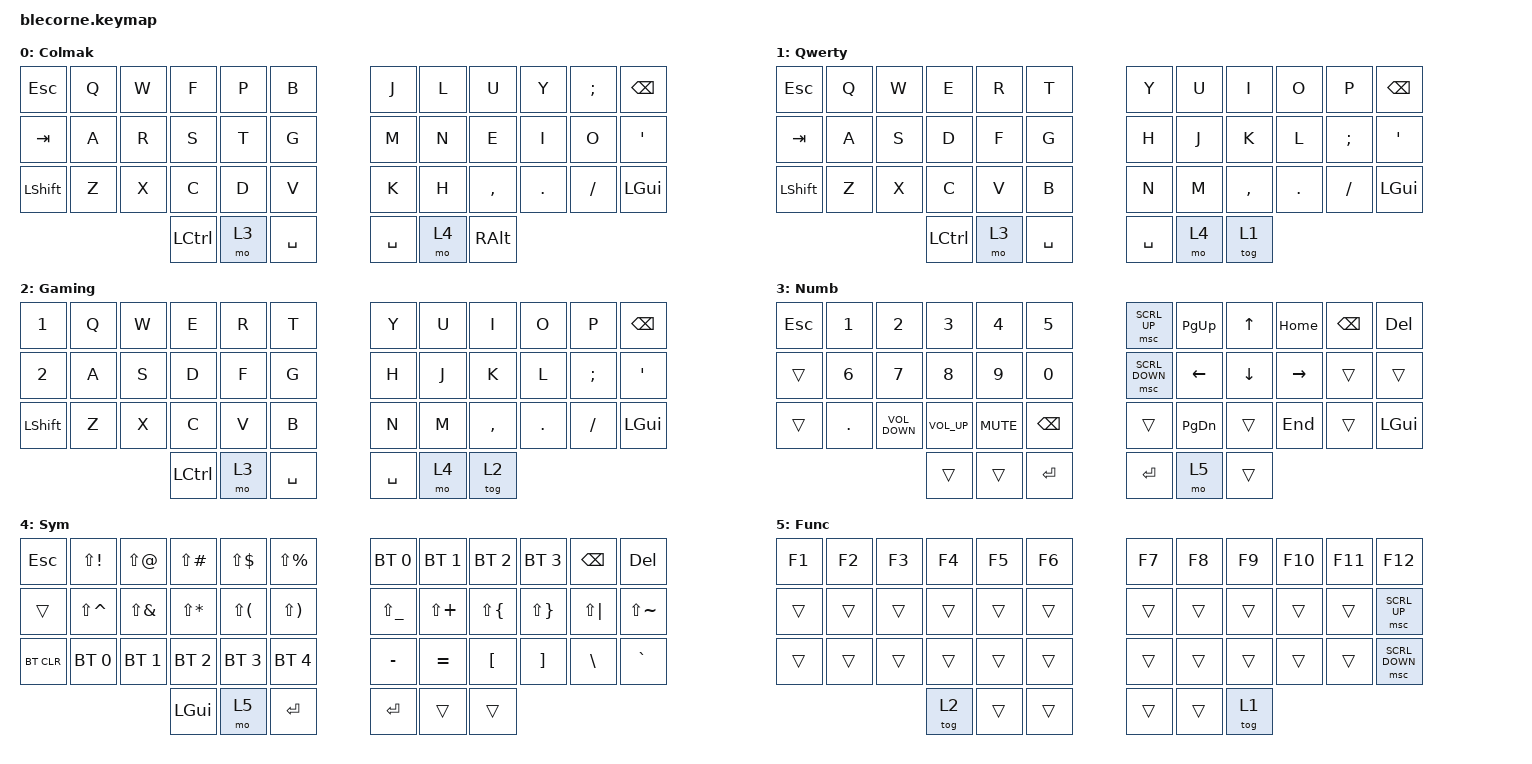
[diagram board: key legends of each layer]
/*
 * Copyright (c) 2020 The ZMK Contributors
 *
 * SPDX-License-Identifier: MIT
 * hhhealthy keymap Colmak/Qwerty 6 Layer
 *
 */

#include <behaviors.dtsi>
#include <dt-bindings/zmk/bt.h>
#include <dt-bindings/zmk/keys.h>
#include <dt-bindings/zmk/pointing.h>


/ {
    /* This block enables Lower + Raise = Max_Layer automatically *** temporarily commenting out in favor of a more normal momentary layer pattern
    conditional_layers {
        compatible = "zmk,conditional-layers";
        tri_layer {
            if-layers = <3 4>;
            then-layer = <5>;
        };
    };
	*/

    keymap {
        compatible = "zmk,keymap";

        default_layer {
            display-name = "Colmak";
            bindings = <
&kp ESC    &kp Q  &kp W  &kp F             &kp P  &kp B        &kp J      &kp L  &kp U      &kp Y    &kp SEMI  &kp BSPC
&kp TAB    &kp A  &kp R  &kp S             &kp T  &kp G        &kp M      &kp N  &kp E      &kp I    &kp O     &kp SQT
&kp LSHFT  &kp Z  &kp X  &kp C             &kp D  &kp V        &kp K      &kp H  &kp COMMA  &kp DOT  &kp FSLH  &kp LGUI
                         &kp LEFT_CONTROL  &mo 3  &kp SPACE    &kp SPACE  &mo 4  &kp RALT
            >;
        };

        qwerty_layer {
            display-name = "Qwerty";
            bindings = <
&kp ESC    &kp Q  &kp W  &kp E             &kp R  &kp T        &kp Y      &kp U  &kp I      &kp O    &kp P     &kp BSPC
&kp TAB    &kp A  &kp S  &kp D             &kp F  &kp G        &kp H      &kp J  &kp K      &kp L    &kp SEMI  &kp SQT
&kp LSHFT  &kp Z  &kp X  &kp C             &kp V  &kp B        &kp N      &kp M  &kp COMMA  &kp DOT  &kp FSLH  &kp LGUI
                         &kp LEFT_CONTROL  &mo 3  &kp SPACE    &kp SPACE  &mo 4  &tog 1
            >;
        };
		
		gaming_layer {
            display-name = "Gaming";
            bindings = <
&kp N1     &kp Q  &kp W  &kp E             &kp R  &kp T        &kp Y      &kp U  &kp I      &kp O    &kp P     &kp BSPC
&kp N2     &kp A  &kp S  &kp D             &kp F  &kp G        &kp H      &kp J  &kp K      &kp L    &kp SEMI  &kp SQT
&kp LSHFT  &kp Z  &kp X  &kp C             &kp V  &kp B        &kp N      &kp M  &kp COMMA  &kp DOT  &kp FSLH  &kp LGUI
                         &kp LEFT_CONTROL  &mo 3  &kp SPACE    &kp SPACE  &mo 4  &tog 2
            >;
        };
		
        numb_layer {
            display-name = "Numb";
            bindings = <
&kp ESC  &kp N1   &kp N2             &kp N3            &kp N4       &kp N5       &msc SCRL_UP    &kp PG_UP  &kp UP    &kp HOME   &kp BSPC  &kp DEL
&trans   &kp N6   &kp N7             &kp N8            &kp N9       &kp N0       &msc SCRL_DOWN  &kp LEFT   &kp DOWN  &kp RIGHT  &trans    &trans
&trans   &kp DOT  &kp C_VOLUME_DOWN  &kp C_VOLUME_UP   &kp K_MUTE   &kp BSPC     &trans          &kp PG_DN  &trans    &kp END    &trans    &kp LEFT_GUI
                                     &trans            &trans       &kp RET      &kp RET         &mo 5      &trans
            >;
        };

        sym_layer {
            display-name = "Sym";
            bindings = <
&kp ESC     &kp LS(EXCL)   &kp LS(AT)    &kp LS(POUND)  &kp LS(DLLR)  &kp LS(PRCNT)    &bt BT_SEL 0   &bt BT_SEL 1  &bt BT_SEL 2  &bt BT_SEL 3  &kp BSPC      &kp DEL
&trans      &kp LS(CARET)  &kp LS(AMPS)  &kp LS(STAR)   &kp LS(LPAR)  &kp LS(RPAR)     &kp LS(UNDER)  &kp LS(PLUS)  &kp LS(LBRC)  &kp LS(RBRC)  &kp LS(PIPE)  &kp LS(TILDE)
&bt BT_CLR  &bt BT_SEL 0   &bt BT_SEL 1  &bt BT_SEL 2   &bt BT_SEL 3  &bt BT_SEL 4     &kp MINUS      &kp EQUAL     &kp LBKT      &kp RBKT      &kp BSLH      &kp GRAVE
                                         &kp LGUI       &mo 5         &kp RET          &kp RET        &trans        &trans
            >;
        };

        func_Layer {
            display-name = "Func";
            bindings = <
&kp F1  &kp F2  &kp F3  &kp F4  &kp F5  &kp F6    &kp F7  &kp F8  &kp F9  &kp F10  &kp F11  &kp F12
&trans  &trans  &trans  &trans  &trans  &trans    &trans  &trans  &trans  &trans   &trans   &msc SCRL_UP
&trans  &trans  &trans  &trans  &trans  &trans    &trans  &trans  &trans  &trans   &trans   &msc SCRL_DOWN
                        &tog 2  &trans  &trans    &trans  &trans  &tog 1
            >;
        };
    };
};
